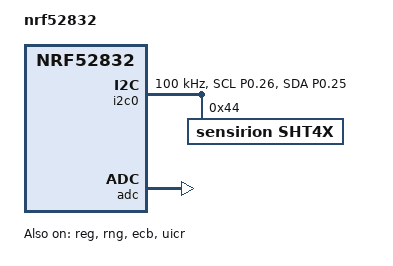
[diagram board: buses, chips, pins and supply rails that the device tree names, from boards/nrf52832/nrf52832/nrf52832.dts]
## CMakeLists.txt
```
#
# Copyright (c) 2022 Nordic Semiconductor ASA
#
# SPDX-License-Identifier: LicenseRef-Nordic-5-Clause
#
cmake_minimum_required(VERSION 3.20.0)

find_package(Zephyr REQUIRED HINTS $ENV{ZEPHYR_BASE})
project(bthome_nrf_template)

FILE(GLOB app_sources src/*.c)
target_sources(app PRIVATE ${app_sources})

target_include_directories(app PRIVATE include)
# NORDIC SDK APP END
```

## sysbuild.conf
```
# SB_CONFIG_BOOTLOADER_MCUBOOT=y
```

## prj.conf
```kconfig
#
# Copyright (c) 2022 Nordic Semiconductor ASA
#
# SPDX-License-Identifier: LicenseRef-Nordic-5-Clause
#
CONFIG_BT=y
CONFIG_BT_PERIPHERAL=y
CONFIG_BT_DEVICE_NAME="Alan T&H Sensor Codedv1.2"
CONFIG_MAIN_STACK_SIZE=16384
CONFIG_BT_HOST_CCM=y

# CONFIG_FLASH=y
# CONFIG_SOC_FLASH_NRF=y
# CONFIG_SOC_FLASH_NRF_UICR=y
# CONFIG_SOC_FLASH_NRF_EMULATE_ONE_BYTE_WRITE_ACCESS=y
CONFIG_NRFX_SAADC=y

CONFIG_SHT4X=y
CONFIG_I2C=y
CONFIG_SENSOR=y

# CONFIG_RESET_ON_FATAL_ERROR=y



# to be removed to reduce power consumption when production
# CONFIG_HW_STACK_PROTECTION=y
# CONFIG_MPU_STACK_GUARD=y
# CONFIG_THREAD_STACK_INFO=y
# CONFIG_DEBUG=y
# CONFIG_PRINTK=y
# CONFIG_USE_SEGGER_RTT=y
# CONFIG_LOG=y
# CONFIG_LOG_BACKEND_RTT=y
# CONFIG_LOG_MODE_IMMEDIATE=y
# CONFIG_MPU_STACK_GUARD=y
# CONFIG_THREAD_ANALYZER=y
# CONFIG_INIT_STACKS=y
# CONFIG_ASSERT=y
# CONFIG_SEGGER_RTT_BUFFER_SIZE_UP=8192
```

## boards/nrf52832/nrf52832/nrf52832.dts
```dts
/dts-v1/;
#include <nordic/nrf52832_qfaa.dtsi>
#include "nrf52832-pinctrl.dtsi"

/ {
	model = "nrf52832";
	compatible = "nrf52832,nrf52832";

	chosen {
		zephyr,sram = &sram0;
		zephyr,flash = &flash0;
		zephyr,code-partition = &slot0_partition;
	};
};

&flash0 {
	partitions {
		compatible = "fixed-partitions";
		#address-cells = <1>;
		#size-cells = <1>;

		boot_partition: partition@0 {
			label = "mcuboot";
			reg = <0x00000000 DT_SIZE_K(48)>;
		};

		slot0_partition: partition@c000 {
			label = "image-0";
			reg = <0x0000c000 DT_SIZE_K(220)>;
		};

		slot1_partition: partition@43000 {
			label = "image-1";
			reg = <0x00043000 DT_SIZE_K(220)>;
		};

		storage_partition: partition@7a000 {
			label = "storage";
			reg = <0x0007a000 DT_SIZE_K(24)>;
		};
	};
};
&i2c0 {
	status = "okay";
	clock-frequency = <I2C_BITRATE_STANDARD>;
	pinctrl-0 = <&i2c0_default>;
	pinctrl-1 = <&i2c0_sleep>;
	pinctrl-names = "default", "sleep";
	sht4x@44 {
		status = "okay";
		compatible = "sensirion,sht4x";
		repeatability = <2>;
		reg = <0x44>;
		zephyr,pm-device-runtime-auto;
	};
};

&gpio0 {
	status = "okay";
};

&pinctrl {
	i2c0_default: i2c0_default {
		group1 {
			psels = <NRF_PSEL(TWIM_SCL, 0, 26)>, <NRF_PSEL(TWIM_SDA, 0, 25)>;
		};
	};

	i2c0_sleep: i2c0_sleep {
		group1 {
			psels = <NRF_PSEL(TWIM_SCL, 0, 25)>;
		};
	};
};

&power {
	status = "okay";
};

&reg {
	regulator-initial-mode = <NRF5X_REG_MODE_DCDC>;
	status = "okay";
};

&rng {
	status = "okay";
};

&ecb {
	status = "okay";
};

&uicr {
	status = "okay";
};

&temp {
	status = "disabled";
};

&adc {
	status = "okay";

	// channel@9 {
	// 	status = "okay";
	// 	reg = <9>;
	// 	zephyr,gain = "ADC_GAIN_1_4";
	// 	zephyr,reference = "ADC_REF_INTERNAL";
	// 	zephyr,acquisition-time = <ADC_ACQ_TIME_DEFAULT>;
	// 	zephyr,input-positive = <NRF_SAADC_INPUT_VDD>;
	// 	zephyr,resolution = <12>;
	// };
};
```

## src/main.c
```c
#include <zephyr/bluetooth/bluetooth.h>
#include <zephyr/bluetooth/crypto.h>
#include <zephyr/bluetooth/gatt.h>
#include <zephyr/bluetooth/uuid.h>
#include <zephyr/drivers/sensor.h>
#include <zephyr/pm/device.h>

#include <zephyr/logging/log.h>

LOG_MODULE_REGISTER(main, LOG_LEVEL_INF);

#include "main.h"

#if !DT_HAS_COMPAT_STATUS_OKAY(sensirion_sht4x)
#error "No sensirion,sht4x compatible node found in the device tree"
#endif

static const struct device* sht40_device;

#if CONFIG_BT_ID_MAX > 1
#error "This application supports only one Bluetooth identity"
#endif

static const uint8_t* const uicr_predefined_key = (const uint8_t*)(0x10001000 + 0x080); // UICR COUSTOM[15:0]

static uint8_t       encryption_nonce[16] = { 0 }; // actually 13 bytes
static const uint8_t predefined_key[16]   = { 0x8b, 0xa5, 0x91, 0xa5, 0xef, 0x8f, 0xd5, 0x99,
                                              0x90, 0x31, 0x6d, 0x38, 0xe0, 0x4a, 0xe9, 0xed };

#define ADV_PARAM BT_LE_ADV_PARAM(BT_LE_ADV_OPT_USE_IDENTITY | BT_LE_ADV_OPT_CODED | BT_LE_ADV_OPT_REQUIRE_S8_CODING, BT_ADV_MIN_INTERVAL, BT_ADV_MAX_INTERVAL, NULL)

static struct bthome_raw_data raw_data = { .battery_object_id     = BTHOMEV2_OBJID_BATTERY_U8_1,
                                           .battery_level         = 42,
                                           .temperature_object_id = BTHOMEV2_OBJID_TEMPERATURE_S16_0P01,
                                           .temperature           = 0000,
                                           .humidity_object_id    = BTHOMEV2_OBJID_HUMIDITY_U16_0P01,
                                           .humidity              = 0000 };

static struct bthome_payload advertising_payload = { .service_uuid     = { BT_UUID_16_ENCODE(BTHOMEV2_SERVICE_UUID) },
                                                     .device_info_byte = BTHOMEV2_DIB_ENCRYPTED | BTHOMEV2_DIB_VER,
                                                     .encrypted_data   = { 0 },
                                                     .counter          = 0x00000000,
                                                     .mic              = { 0 } };

static struct bt_data advertising_data[] = {
    BT_DATA_BYTES(BT_DATA_FLAGS, BT_LE_AD_GENERAL | BT_LE_AD_NO_BREDR),
    BT_DATA(BT_DATA_SVC_DATA16, &advertising_payload, sizeof(advertising_payload))
};

static struct bt_data scan_response_data[] = {
    BT_DATA(BT_DATA_NAME_COMPLETE, CONFIG_BT_DEVICE_NAME, sizeof(CONFIG_BT_DEVICE_NAME) - 1),
};

#include <nrfx_saadc.h>
#define SAADC_INPUT_PIN NRFX_ANALOG_INTERNAL_VDD

static int16_t              battery_sample_voltage;
static nrfx_saadc_channel_t battery_sample_channel  = NRFX_SAADC_DEFAULT_CHANNEL_SE(SAADC_INPUT_PIN, 0);
static int                  battery_sample_time_due = 0;

void battery_sample()
{
    LOG_INF("fetching saadc");
    nrfx_err_t err = nrfx_saadc_init(DT_IRQ(DT_NODELABEL(adc), priority));
    if (err != 0)
    {
        LOG_ERR("nrfx_saadc_mode_trigger error: %d", (int)err);
        return;
    }
    battery_sample_channel.channel_config.gain = NRF_SAADC_GAIN1_6;

    err = nrfx_saadc_channels_config(&battery_sample_channel, 1);
    if (err != 0)
    {
        LOG_ERR("nrfx_saadc_channels_config error: %d", (int)err);
        return;
    }
    err = nrfx_saadc_simple_mode_set(BIT(0), NRF_SAADC_RESOLUTION_12BIT, NRF_SAADC_OVERSAMPLE_128X, NULL);
    if (err != 0)
    {
        LOG_ERR("nrfx_saadc_simple_mode_set error: %d", (int)err);
        return;
    }
    err = nrfx_saadc_buffer_set(&battery_sample_voltage, 1);
    if (err != 0)
    {
        LOG_ERR("nrfx_saadc_buffer_set error: %d", (int)err);
        return;
    }
    err = nrfx_saadc_offset_calibrate(NULL);
    if (err != 0)
    {
        LOG_ERR("nrfx_saadc_offset_calibrate error: %d", (int)err);
        return;
    }
    err = nrfx_saadc_mode_trigger();
    if (err != 0)
    {
        LOG_ERR("nrfx_saadc_mode_trigger error: %d", (int)err);
        return;
    }
    int batt_volt          = ((600 * 6) * battery_sample_voltage) / ((1 << 12));
    raw_data.battery_level = (batt_volt > 3200) ? 100 : (batt_volt < 2500) ? 0 : (batt_volt - 2500) / 7;
    nrfx_saadc_uninit(); // save power
    LOG_INF(
        "sampled battery voltage: %d mV, orignal data: %hd, level: %hhu%%",
        batt_volt,
        battery_sample_voltage,
        raw_data.battery_level);
}
void battery_sample_timer_handler(struct k_timer* timer)
{
    battery_sample_time_due = 1;
}

K_TIMER_DEFINE(battery_sample_timer, battery_sample_timer_handler, NULL);
static int sensor_sample_time_due = 0;

void sensor_sample()
{
    if (sht40_device == NULL)
    {
        LOG_ERR("SHT4X device pointer is NULL");
        return;
    }

    if (!device_is_ready(sht40_device))
    {
        LOG_ERR("sht40 %s is not ready", sht40_device->name);
        return;
    }
    else
    {
        LOG_INF("sht40 %s device ready", sht40_device->name);
    }

    if (sensor_sample_fetch(sht40_device))
    {
        LOG_ERR("fetch sample from SHT4X device failed ");
        return;
    }

    struct sensor_value sht40_t  = { 0 };
    struct sensor_value sht40_rh = { 0 };

    sensor_channel_get(sht40_device, SENSOR_CHAN_AMBIENT_TEMP, &sht40_t); // data zero initialized so failure is
    sensor_channel_get(sht40_device, SENSOR_CHAN_HUMIDITY, &sht40_rh);

    raw_data.temperature = (int16_t)(sht40_t.val1 * 100 + sht40_t.val2 / 10000);
    raw_data.humidity    = (uint16_t)(sht40_rh.val1 * 100 + sht40_rh.val2 / 10000);

    LOG_INF("sample fetched from SHT4X device: temp=%hd, humidity=%hu", raw_data.temperature, raw_data.humidity);
}
void sensor_sample_timer_handler(struct k_timer* timer)
{
    sensor_sample_time_due = 1;
}
K_TIMER_DEFINE(sensor_sample_timer, sensor_sample_timer_handler, NULL);

static int encrypt_init()
{
    int result = bt_rand(&(advertising_payload.counter), sizeof(advertising_payload.counter));
    if (result)
    {
        LOG_INF("counter initlization by bt_rand() filling failed: %d", result);
        return -1;
    }

    bt_addr_le_t mac_addr[CONFIG_BT_ID_MAX];
    size_t       mac_count = CONFIG_BT_ID_MAX;
    bt_id_get(mac_addr, &mac_count);
    if (mac_count == 0)
    {
        LOG_INF("nonce initlization by bt_id_get() failed: no MAC addresses found");
        return -1;
    }
    for (size_t i = 0; i < mac_count; i++)
    {
        char addr_str[BT_ADDR_LE_STR_LEN] = { 0 };
        bt_addr_le_to_str(&mac_addr[i], addr_str, sizeof(addr_str));
        LOG_INF("device MAC address %u: %s", (unsigned int)i, addr_str);
    }

    encryption_nonce[5] = mac_addr[0].a.val[0];
    encryption_nonce[4] = mac_addr[0].a.val[1];
    encryption_nonce[3] = mac_addr[0].a.val[2];
    encryption_nonce[2] = mac_addr[0].a.val[3];
    encryption_nonce[1] = mac_addr[0].a.val[4];
    encryption_nonce[0] = mac_addr[0].a.val[5];

    memcpy(encryption_nonce + 6, advertising_payload.service_uuid, 2);
    memcpy(encryption_nonce + 8, &(advertising_payload.device_info_byte), 1);
    memcpy(encryption_nonce + 9, &(advertising_payload.counter), 4);
    LOG_INF("encryption initialization completed");

    return 0;
}

static int encrypt_payload(
    struct bthome_payload*        payload,
    const struct bthome_raw_data* raw_data,
    uint8_t*                      nonce,
    const uint8_t*                key)
{
    if (payload == NULL || raw_data == NULL || nonce == NULL || key == NULL)
    {
        LOG_INF("encrypt_payload() invalid parameter");
        return -1;
    }

    memcpy(nonce + 9, &(payload->counter), 4);
    uint8_t enc_data_buffer[sizeof(struct bthome_raw_data) + 4] = { 0 };

    int result =
        bt_ccm_encrypt(key, nonce, (uint8_t*)raw_data, sizeof(struct bthome_raw_data), NULL, 0, enc_data_buffer, 4);
    if (result)
    {
        LOG_INF("bt_ccm_encrypt() failed: %d", result);
        return result;
    }

    memcpy(&(payload->encrypted_data), enc_data_buffer, sizeof(struct bthome_raw_data));
    memcpy(&(payload->mic), enc_data_buffer + sizeof(struct bthome_raw_data), 4);

    return result;
}

static void bt_ready(int result)
{
    if (result)
    {
        LOG_ERR("bluetooth init failed: %d", result);
        return;
    }

    result = bt_le_adv_start(
        ADV_PARAM, advertising_data, ARRAY_SIZE(advertising_data), scan_response_data, ARRAY_SIZE(scan_response_data));
    if (result)
    {
        LOG_ERR(
            "bluetooth adsr failed to set data: %d, sizeof(advertising_payload):%d",
            result,
            sizeof(advertising_payload));
        return;
    }
    LOG_INF("bluetooth advertising started");
}

int main(void)
{
    LOG_INF("Alan nRF52832SHT40 BTHomev2 Sensor");

    LOG_INF("fetching sht40");
    sht40_device = DEVICE_DT_GET_ANY(sensirion_sht4x);
    if (sht40_device == NULL)
    {
        LOG_ERR("sht40 device not found");
        return -1;
    }
    else
    {
        LOG_INF("sht40 device found: %s", sht40_device->name);
    }

    LOG_INF("starting battery monitoring timer");
    k_timer_start(&battery_sample_timer, K_NO_WAIT, K_MSEC(BATTERY_SAMPLE_INTERVAL_MS));

    LOG_INF("starting sensor timer");
    k_timer_start(&sensor_sample_timer, K_NO_WAIT, K_MSEC(SENSOR_SAMPLE_INTERVAL_MS));

    LOG_INF("enabling bluetooth");
    int result = bt_enable(bt_ready);
    if (result)
    {
        LOG_ERR("bluetooth init failed: %d", result);
        return -1;
    }
    else
    {
        LOG_INF("bluetooth ready");
    }
    result = encrypt_init();
    if (result)
    {
        LOG_ERR("encryption initialization failed: %d", result);
        return -1;
    }
    if (memcmp(uicr_predefined_key, "\xFF\xFF\xFF\xFF\xFF\xFF\xFF\xFF\xFF\xFF\xFF\xFF\xFF\xFF\xFF\xFF", 16) != 0)
    {
        LOG_INF("using UICR predefined key for encryption");
    }
    else
    {
        LOG_INF("using default predefined key for encryption");
    }
    while (1)
    {
        if (battery_sample_time_due)
        {
            battery_sample_time_due = 0;
            battery_sample();
        }
        if (sensor_sample_time_due)
        {
            sensor_sample_time_due = 0;
            sensor_sample();
        }
        if (memcmp(uicr_predefined_key, "\xFF\xFF\xFF\xFF\xFF\xFF\xFF\xFF\xFF\xFF\xFF\xFF\xFF\xFF\xFF\xFF", 16) != 0)
        {
            result = encrypt_payload(&advertising_payload, &raw_data, encryption_nonce, uicr_predefined_key);
        }
        else
        {
            result = encrypt_payload(&advertising_payload, &raw_data, encryption_nonce, predefined_key);
        }

        if (result)
        {
            LOG_ERR("payload encryption failed: %d", result);
            continue;
        }
        result = bt_le_adv_update_data(
            advertising_data, ARRAY_SIZE(advertising_data), scan_response_data, ARRAY_SIZE(scan_response_data));
        if (result)
        {
            LOG_ERR("bluetooth adsr update failed to set data: %d", result);
            continue;
        }
        advertising_payload.counter++;

        k_sleep(K_MSEC(BT_TICK_TO_MSEC(BT_ADV_MIN_INTERVAL)));
    }
    return 0;
}
```

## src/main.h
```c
#pragma once

#ifndef _MAIN_H_
#define _MAIN_H_

#include <stdint.h>

#define BTHOMEV2_SERVICE_UUID               0xFCD2

#define BTHOMEV2_DIB_ENCRYPTED              (0x01 << 0)
#define BTHOMEV2_DIB_RESERVED1              (0x01 << 1)
#define BTHOMEV2_DIB_TRIGGER_BASED          (0x01 << 2)
#define BTHOMEV2_DIB_RESERVED3              (0x01 << 3)
#define BTHOMEV2_DIB_RESERVED4              (0x01 << 4)
#define BTHOMEV2_DIB_VER                    (0x02 << 5)

#define BTHOMEV2_OBJID_BATTERY_U8_1         0x01
#define BTHOMEV2_OBJID_TEMPERATURE_S16_0P01 0x02
#define BTHOMEV2_OBJID_HUMIDITY_U16_0P01    0x03

struct bthome_raw_data
{
    uint8_t  battery_object_id;
    uint8_t  battery_level;
    uint8_t  temperature_object_id;
    int16_t  temperature;
    uint8_t  humidity_object_id;
    uint16_t humidity;
} __attribute__((packed));

struct bthome_payload
{
    uint8_t                service_uuid[2]; // little-endian
    uint8_t                device_info_byte;
    struct bthome_raw_data encrypted_data;
    uint32_t               counter; // little-endian
    uint8_t                mic[4];
} __attribute__((packed));

#define BT_ADV_MIN_INTERVAL         8224  // 5.140s
// #define BT_SHORTEN_ADV_MIN_INTERVAL 4112  // 2.570s
#define BT_ADV_MAX_INTERVAL         10280 // 6.425s
// #define BT_SHORTEN_ADV_MAX_INTERVAL 6168  // 3.855s

#define BATTERY_SAMPLE_INTERVAL_MS  600000 // 600s
#define SENSOR_SAMPLE_INTERVAL_MS   20000  // 20s

#define BT_TICK_TO_MSEC(ticks)      ((ticks) * 10 / 16)

#endif // _MAIN_H_
```
